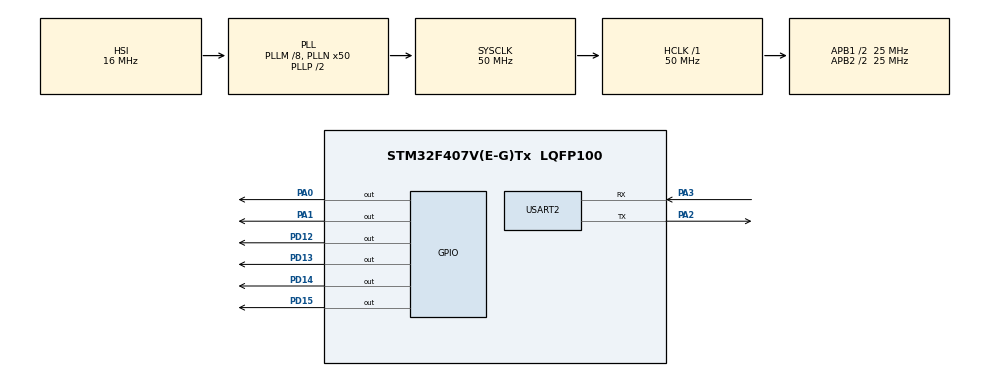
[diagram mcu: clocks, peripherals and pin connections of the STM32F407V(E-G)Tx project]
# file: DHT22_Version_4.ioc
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Mcu.Family=STM32F4
Mcu.Name=STM32F407V(E-G)Tx
Mcu.Package=LQFP100
NVIC.PriorityGroup=NVIC_PRIORITYGROUP_0
PA0-WKUP.Signal=GPIO_Output
PA1.Signal=GPIO_Output
PA2.Mode=Asynchronous
PA2.Signal=USART2_TX
PA3.Mode=Asynchronous
PA3.Signal=USART2_RX
PD12.Signal=GPIO_Output
PD13.Signal=GPIO_Output
PD14.Signal=GPIO_Output
PD15.Signal=GPIO_Output
PH0-OSC_IN.Mode=HSE-External-Oscillator
PH0-OSC_IN.Signal=RCC_OSC_IN
PH1-OSC_OUT.Mode=HSE-External-Oscillator
PH1-OSC_OUT.Signal=RCC_OSC_OUT
ProjectManager.HeapSize=0x200
ProjectManager.StackSize=0x400
ProjectManager.TargetToolchain=STM32CubeIDE
RCC.48MHZClocksFreq_Value=14285714.285714285
RCC.AHBFreq_Value=50000000
RCC.APB1CLKDivider=RCC_HCLK_DIV2
RCC.APB1Freq_Value=25000000
RCC.APB1TimFreq_Value=50000000
RCC.APB2CLKDivider=RCC_HCLK_DIV2
RCC.APB2Freq_Value=25000000
RCC.APB2TimFreq_Value=50000000
RCC.CortexFreq_Value=50000000
RCC.HCLKFreq_Value=50000000
RCC.HSE_VALUE=8000000
RCC.HSI_VALUE=16000000
RCC.LSE_VALUE=32768
RCC.PLLM=8
RCC.PLLN=50
RCC.PLLQ=7
RCC.SYSCLKFreq_VALUE=50000000
RCC.SYSCLKSource=RCC_SYSCLKSOURCE_PLLCLK
RCC.VCOOutputFreq_Value=100000000
TIM1.Prescaler=55
TIM6.Period=0xffff-1
TIM6.Prescaler=50-1
USART2.VirtualMode=VM_ASYNC
VP_TIM1_VS_ClockSourceINT.Mode=Internal
VP_TIM6_VS_ClockSourceINT.Mode=Enable_Timer
board=STM32F407G-DISC1

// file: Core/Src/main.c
/* USER CODE BEGIN Header */
/**
  ******************************************************************************
  * @file           : main.c
  * @brief          : Main program body
  ******************************************************************************
  * @attention
  *
  * Copyright (c) 2024 STMicroelectronics.
  * All rights reserved.
  *
  * This software is licensed under terms that can be found in the LICENSE file
  * in the root directory of this software component.
  * If no LICENSE file comes with this software, it is provided AS-IS.
  *
  ******************************************************************************
  */
/* USER CODE END Header */
#include "main.h"

/* USER CODE BEGIN Includes */
#include <string.h>
#include <stdio.h>
#include "stm32f4xx_hal.h"
#include "stm32f4xx_hal_gpio.h"
/* USER CODE END Includes */

/* USER CODE BEGIN PTD */
#define DHT22_Pin GPIO_PIN_1
#define DHT22_GPIO_Port GPIOA
#define DHT22_PIN_NUMBER 1 // For direct register access
#define DHT22_PORT GPIOA

/* USER CODE END PTD */

TIM_HandleTypeDef htim1;
TIM_HandleTypeDef htim6;

UART_HandleTypeDef huart2;

/* USER CODE BEGIN PV */

char message1[16];
char message2[16];
uint8_t TOUT = 0, checksum, i;
uint8_t T_Byte1, T_Byte2, RH_Byte1, RH_Byte2;

/* USER CODE END PV */

void SystemClock_Config(void);
static void MX_GPIO_Init(void);
static void MX_TIM1_Init(void);
static void MX_USART2_UART_Init(void);
static void MX_TIM6_Init(void);

/* USER CODE BEGIN 0 */

void delay_us(uint16_t us) {
    __HAL_TIM_SET_COUNTER(&htim6, 0);
    while (__HAL_TIM_GET_COUNTER(&htim6) < us);
}

void Start_Signal(void) {
    GPIO_InitTypeDef GPIO_InitStruct = {0};

    // Configure PA1 as output (using HAL for initial setup)
    GPIO_InitStruct.Pin = DHT22_Pin;
    GPIO_InitStruct.Mode = GPIO_MODE_OUTPUT_PP;
    GPIO_InitStruct.Pull = GPIO_NOPULL;
    GPIO_InitStruct.Speed = GPIO_SPEED_FREQ_LOW;
    HAL_GPIO_Init(DHT22_GPIO_Port, &GPIO_InitStruct);

    HAL_GPIO_WritePin(DHT22_GPIO_Port, DHT22_Pin, GPIO_PIN_RESET);
    HAL_Delay(18);
    HAL_GPIO_WritePin(DHT22_GPIO_Port, DHT22_Pin, GPIO_PIN_SET);
    delay_us(30);

    // Configure PA1 as input (using HAL)
    GPIO_InitStruct.Mode = GPIO_MODE_INPUT;
    GPIO_InitStruct.Pull = GPIO_PULLUP;

    HAL_GPIO_Init(DHT22_GPIO_Port, &GPIO_InitStruct);
    delay_us(5); // Important delay after mode change
}

uint8_t check_response(void) {
    __HAL_TIM_SET_COUNTER(&htim6, 0);
    while (!(DHT22_PORT->IDR & (1 << DHT22_PIN_NUMBER)) && __HAL_TIM_GET_COUNTER(&htim6) < 100);
    if (__HAL_TIM_GET_COUNTER(&htim6) >= 100) return 0;

    __HAL_TIM_SET_COUNTER(&htim6, 0);
    while ((DHT22_PORT->IDR & (1 << DHT22_PIN_NUMBER)) && __HAL_TIM_GET_COUNTER(&htim6) < 100);
    if (__HAL_TIM_GET_COUNTER(&htim6) >= 100) return 0;

    return 1;
}

uint8_t read_byte(void) {
    uint8_t num = 0;
    for (int i = 0; i < 8; i++) {
        while (!(DHT22_PORT->IDR & (1 << DHT22_PIN_NUMBER))); // Wait for HIGH
        __HAL_TIM_SET_COUNTER(&htim6, 0);
        while ((DHT22_PORT->IDR & (1 << DHT22_PIN_NUMBER)) && __HAL_TIM_GET_COUNTER(&htim6) < 100);
        if (__HAL_TIM_GET_COUNTER(&htim6) > 40) {
            num |= (1 << (7 - i));
        }
        delay_us(5);
    }
    return num;
}

void send_uart(char *str) {
    HAL_UART_Transmit(&huart2, (uint8_t *)str, strlen(str), HAL_MAX_DELAY);
}

/* USER CODE END 0 */

int main(void)
{

  /* USER CODE BEGIN 1 */
    char msg[50];
    uint16_t rh, temp;
    int8_t sign;

  /* USER CODE END 1 */

  /* MCU Configuration--------------------------------------------------------*/

  /* Reset of all peripherals, Initializes the Flash interface and the Systick. */
  HAL_Init();

  /* Configure the system clock */
  SystemClock_Config();

  /* Initialize all configured peripherals */
  MX_GPIO_Init();
  MX_TIM1_Init();
  MX_USART2_UART_Init();
  MX_TIM6_Init();
  /* USER CODE BEGIN 2 */
  HAL_TIM_Base_Start(&htim6);  // for us Delay

  sprintf(msg, "UART initialized..\r\n");
  HAL_UART_Transmit(&huart2, (uint8_t *)msg, strlen(msg), HAL_MAX_DELAY);

  /* USER CODE END 2 */

  /* Infinite loop */
  while (1)
  {

    /* USER CODE BEGIN 3 */
	  delay_us(30);
	  Start_Signal();
	  if (!check_response()) {
		  send_uart("No Response from the Sensor!\r\n");
		  continue;
	  }

	  RH_Byte1 = read_byte();
	  RH_Byte2 = read_byte();
	  T_Byte1 = read_byte();
	  T_Byte2 = read_byte();
	  checksum = read_byte();

	  if (checksum != ((RH_Byte1 + RH_Byte2 + T_Byte1 + T_Byte2) & 0xFF)) {
		  send_uart("Checksum Error!\r\n");
		  continue;
	  }

	  rh = (RH_Byte1 << 8) | RH_Byte2;
	  temp = (T_Byte1 << 8) | T_Byte2;
	  sign = (temp & 0x8000) ? -1 : 1;
	  if (sign == -1) temp &= 0x7FFF;

	  sprintf(msg, "RH: %u.%u%%, Temp: %d.%uC\r\n", rh / 10, rh % 10, sign * (temp / 10), temp % 10);
	  send_uart(msg);

	  HAL_Delay(1000);

  }
  /* USER CODE END 3 */
}

void SystemClock_Config(void)
{
  RCC_OscInitTypeDef RCC_OscInitStruct = {0};
  RCC_ClkInitTypeDef RCC_ClkInitStruct = {0};

  /** Configure the main internal regulator output voltage
  */
  __HAL_RCC_PWR_CLK_ENABLE();
  __HAL_PWR_VOLTAGESCALING_CONFIG(PWR_REGULATOR_VOLTAGE_SCALE1);

  /** Initializes the RCC Oscillators according to the specified parameters
  * in the RCC_OscInitTypeDef structure.
  */
  RCC_OscInitStruct.OscillatorType = RCC_OSCILLATORTYPE_HSI;
  RCC_OscInitStruct.HSIState = RCC_HSI_ON;
  RCC_OscInitStruct.HSICalibrationValue = RCC_HSICALIBRATION_DEFAULT;
  RCC_OscInitStruct.PLL.PLLState = RCC_PLL_ON;
  RCC_OscInitStruct.PLL.PLLSource = RCC_PLLSOURCE_HSI;
  RCC_OscInitStruct.PLL.PLLM = 8;
  RCC_OscInitStruct.PLL.PLLN = 50;
  RCC_OscInitStruct.PLL.PLLP = RCC_PLLP_DIV2;
  RCC_OscInitStruct.PLL.PLLQ = 7;
  if (HAL_RCC_OscConfig(&RCC_OscInitStruct) != HAL_OK)
  {
    Error_Handler();
  }

  /** Initializes the CPU, AHB and APB buses clocks
  */
  RCC_ClkInitStruct.ClockType = RCC_CLOCKTYPE_HCLK|RCC_CLOCKTYPE_SYSCLK
                              |RCC_CLOCKTYPE_PCLK1|RCC_CLOCKTYPE_PCLK2;
  RCC_ClkInitStruct.SYSCLKSource = RCC_SYSCLKSOURCE_PLLCLK;
  RCC_ClkInitStruct.AHBCLKDivider = RCC_SYSCLK_DIV1;
  RCC_ClkInitStruct.APB1CLKDivider = RCC_HCLK_DIV2;
  RCC_ClkInitStruct.APB2CLKDivider = RCC_HCLK_DIV2;

  if (HAL_RCC_ClockConfig(&RCC_ClkInitStruct, FLASH_LATENCY_1) != HAL_OK)
  {
    Error_Handler();
  }
}

static void MX_TIM1_Init(void)
{

  TIM_ClockConfigTypeDef sClockSourceConfig = {0};
  TIM_MasterConfigTypeDef sMasterConfig = {0};

  htim1.Instance = TIM1;
  htim1.Init.Prescaler = 55;
  htim1.Init.CounterMode = TIM_COUNTERMODE_UP;
  htim1.Init.Period = 65535;
  htim1.Init.ClockDivision = TIM_CLOCKDIVISION_DIV1;
  htim1.Init.RepetitionCounter = 0;
  htim1.Init.AutoReloadPreload = TIM_AUTORELOAD_PRELOAD_DISABLE;
  if (HAL_TIM_Base_Init(&htim1) != HAL_OK)
  {
    Error_Handler();
  }
  sClockSourceConfig.ClockSource = TIM_CLOCKSOURCE_INTERNAL;
  if (HAL_TIM_ConfigClockSource(&htim1, &sClockSourceConfig) != HAL_OK)
  {
    Error_Handler();
  }
  sMasterConfig.MasterOutputTrigger = TIM_TRGO_RESET;
  sMasterConfig.MasterSlaveMode = TIM_MASTERSLAVEMODE_DISABLE;
  if (HAL_TIMEx_MasterConfigSynchronization(&htim1, &sMasterConfig) != HAL_OK)
  {
    Error_Handler();
  }

}

static void MX_TIM6_Init(void)
{

  TIM_MasterConfigTypeDef sMasterConfig = {0};

  htim6.Instance = TIM6;
  htim6.Init.Prescaler = 50-1;
  htim6.Init.CounterMode = TIM_COUNTERMODE_UP;
  htim6.Init.Period = 0xffff-1;
  htim6.Init.AutoReloadPreload = TIM_AUTORELOAD_PRELOAD_DISABLE;
  if (HAL_TIM_Base_Init(&htim6) != HAL_OK)
  {
    Error_Handler();
  }
  sMasterConfig.MasterOutputTrigger = TIM_TRGO_RESET;
  sMasterConfig.MasterSlaveMode = TIM_MASTERSLAVEMODE_DISABLE;
  if (HAL_TIMEx_MasterConfigSynchronization(&htim6, &sMasterConfig) != HAL_OK)
  {
    Error_Handler();
  }

}

static void MX_USART2_UART_Init(void)
{

  huart2.Instance = USART2;
  huart2.Init.BaudRate = 115200;
  huart2.Init.WordLength = UART_WORDLENGTH_8B;
  huart2.Init.StopBits = UART_STOPBITS_1;
  huart2.Init.Parity = UART_PARITY_NONE;
  huart2.Init.Mode = UART_MODE_TX_RX;
  huart2.Init.HwFlowCtl = UART_HWCONTROL_NONE;
  huart2.Init.OverSampling = UART_OVERSAMPLING_16;
  if (HAL_UART_Init(&huart2) != HAL_OK)
  {
    Error_Handler();
  }

}

static void MX_GPIO_Init(void)
{
  GPIO_InitTypeDef GPIO_InitStruct = {0};

  /* GPIO Ports Clock Enable */
  __HAL_RCC_GPIOH_CLK_ENABLE();
  __HAL_RCC_GPIOA_CLK_ENABLE();
  __HAL_RCC_GPIOD_CLK_ENABLE();

  /*Configure GPIO pin Output Level */
  HAL_GPIO_WritePin(GPIOA, GPIO_PIN_0|GPIO_PIN_1, GPIO_PIN_RESET);

  /*Configure GPIO pin Output Level */
  HAL_GPIO_WritePin(GPIOD, GPIO_PIN_12|GPIO_PIN_13|GPIO_PIN_14|GPIO_PIN_15, GPIO_PIN_RESET);

  /*Configure GPIO pins : PA0 PA1 */
  GPIO_InitStruct.Pin = GPIO_PIN_0|GPIO_PIN_1;
  GPIO_InitStruct.Mode = GPIO_MODE_OUTPUT_PP;
  GPIO_InitStruct.Pull = GPIO_NOPULL;
  GPIO_InitStruct.Speed = GPIO_SPEED_FREQ_LOW;
  HAL_GPIO_Init(GPIOA, &GPIO_InitStruct);

  /*Configure GPIO pins : PD12 PD13 PD14 PD15 */
  GPIO_InitStruct.Pin = GPIO_PIN_12|GPIO_PIN_13|GPIO_PIN_14|GPIO_PIN_15;
  GPIO_InitStruct.Mode = GPIO_MODE_OUTPUT_PP;
  GPIO_InitStruct.Pull = GPIO_NOPULL;
  GPIO_InitStruct.Speed = GPIO_SPEED_FREQ_LOW;
  HAL_GPIO_Init(GPIOD, &GPIO_InitStruct);

}

void Error_Handler(void)
{
  __disable_irq();
  while (1)
  {
  }
}
